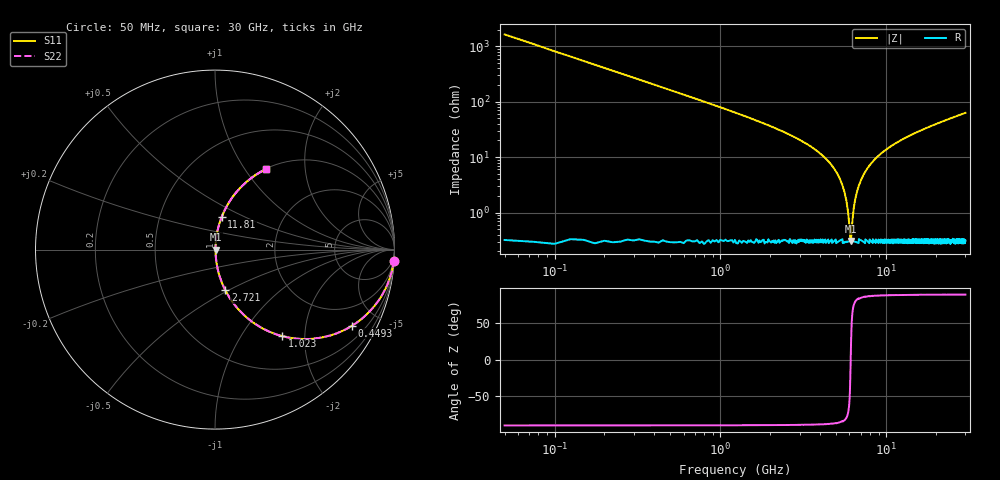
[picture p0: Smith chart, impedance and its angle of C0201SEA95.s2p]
# MHZ S MA R 50
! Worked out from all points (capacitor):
!   1201 points, 50 MHz to 30 GHz, reference 50 ohm
!   read as one part in series: C = 1.95 pF near 199.8 MHz
!   lowest |Z| = 308 mohm at 6.115 GHz (marker M1)
!   series resonance near 6.103 GHz, so ESL is about 350 pH
!   S11 on the Smith chart (normalised r, x): 50 MHz: 1, -33; 449.3 MHz: 1.01, -3.61; 1.023 GHz: 1.01, -1.55; 2.721 GHz: 1.01, -0.48; 11.81 GHz: 1.01, +0.38; 30 GHz: 1.01, +1.26
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50  0.998 -3.5  0.061 86.5  0.061 86.5  0.998 -3.5
274.625  0.947 -18.6  0.319 71.3  0.319 71.3  0.947 -18.6
449.333  0.874 -28.9  0.484 61.0  0.484 61.0  0.874 -28.9
1023.375  0.611 -52.1  0.789 37.7  0.789 37.7  0.611 -52.1
1697.25  0.405 -65.7  0.912 23.9  0.912 23.9  0.405 -65.7
2720.542  0.233 -75.8  0.97 13.5  0.97 13.5  0.233 -75.8
4118.208  0.107 -82.2  0.991 6.1  0.991 6.1  0.107 -82.2
5041.667  0.051 -83.7  0.996 2.9  0.996 2.9  0.051 -83.7
5590.75  0.024 -81.3  0.997 1.3  0.997 1.3  0.024 -81.3
5790.417  0.014 -77.0  0.997 0.8  0.997 0.8  0.014 -77.0
6015.042  0.004912 -51.5  0.997 0.2  0.997 0.2  0.004912 -51.5
6114.875  0.003087 9.9  0.997 -0.0  0.997 -0.0  0.003087 9.9
6189.75  0.00485 51.0  0.997 -0.2  0.997 -0.2  0.00485 51.0
6564.125  0.02 80.0  0.997 -1.1  0.997 -1.1  0.02 80.0
7188.083  0.044 83.5  0.996 -2.5  0.996 -2.5  0.044 83.5
8286.25  0.083 83.2  0.994 -4.7  0.994 -4.7  0.083 83.2
10058.29  0.138 80.8  0.987 -7.9  0.987 -7.9  0.138 80.8
11805.38  0.186 78.4  0.98 -10.7  0.98 -10.7  0.186 78.4
15025  0.264 74.0  0.961 -15.3  0.961 -15.3  0.264 74.0
20016.67  0.369 67.9  0.927 -21.6  0.927 -21.6  0.369 67.9
25033.29  0.457 62.4  0.887 -27.2  0.887 -27.2  0.457 62.4
30000  0.532 57.6  0.844 -32.1  0.844 -32.1  0.532 57.6
